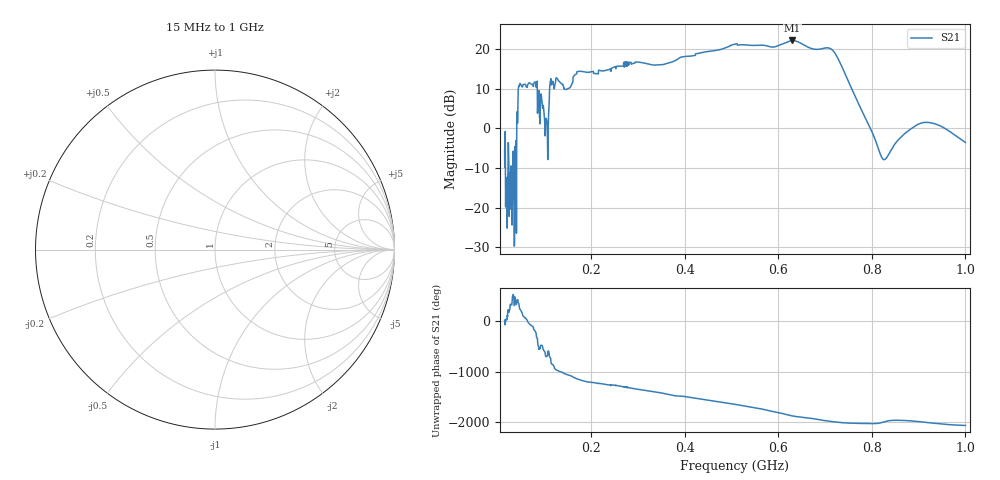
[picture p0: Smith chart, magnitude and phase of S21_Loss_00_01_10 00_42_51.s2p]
![Mode]
!Name=1
![AMP]
!LEV=0
!Step=10
![Maker]
!M1=88
!M2=271
![Freq]
!CENT=507500000
!SPAN=985000000
![CAL]
!CAL=3
![SweepPoint]
!Point=6
![CurveData]
# Hz S RI R 50
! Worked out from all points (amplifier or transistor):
!   3151 points, 15 MHz to 1 GHz, reference 50 ohm
!   highest |S21| = 22.2 dB at 630.4 MHz (marker M1)
!   |S21| within 3 dB of that: 439 MHz to 719.9 MHz (280.9 MHz wide, 48.5 % of centre)
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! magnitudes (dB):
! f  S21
! 15 MHz  -5.4
! 21.57 MHz  -21.2
! 35.64 MHz  -29.6
! 39.39 MHz  -3.3
! 41.27 MHz  3.8
! 45.64 MHz  10.6
! 48.77 MHz  11.2
! 80.04 MHz  11.7
! 104.4 MHz  2.3
! 115.4 MHz  11.0
! 149.8 MHz  9.9
! 179.5 MHz  14.4
! 343.6 MHz  16.0
! 507.5 MHz  21.2
! 630.4 MHz  22.2
! 672 MHz  20.1
! 719.8 MHz  19.2
! 820.5 MHz  -7.2
! 836.1 MHz  -6.5
! 867.1 MHz  -1.7
! 910.6 MHz  1.5
! 1 GHz  -3.6
